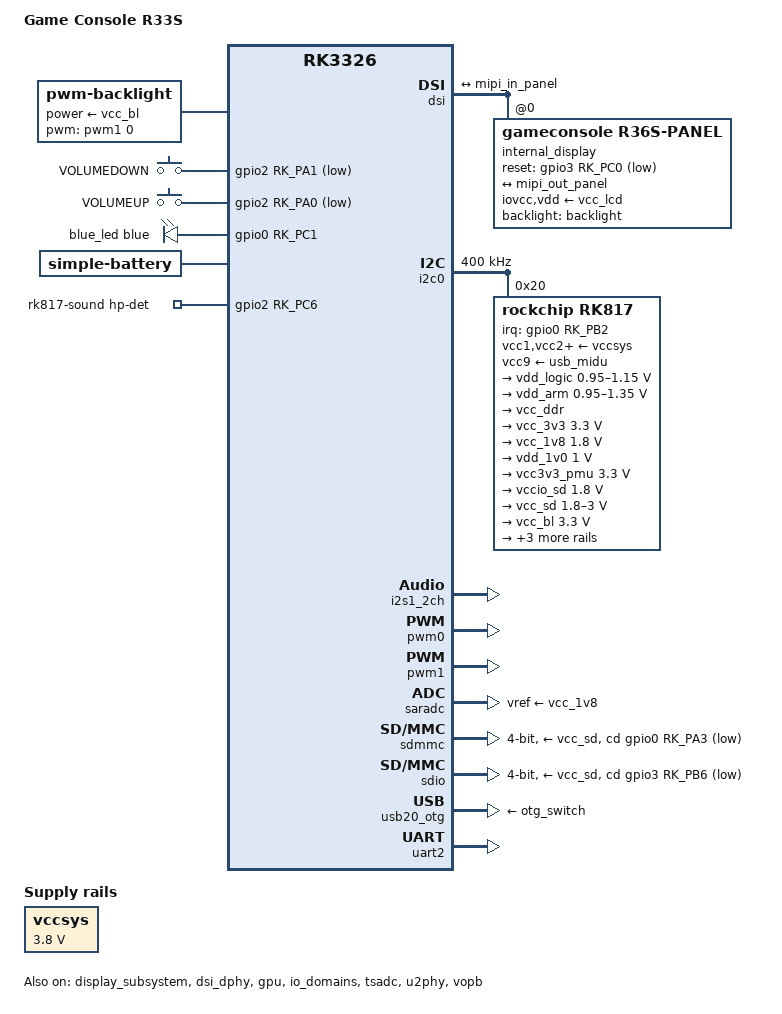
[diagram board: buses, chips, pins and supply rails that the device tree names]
// SPDX-License-Identifier: (GPL-2.0+ OR MIT)
/*
 * # Copyright (C) 2022-24 JELOS (https://github.com/JustEnoughLinuxOS)
 */

/dts-v1/;
#include <dt-bindings/gpio/gpio.h>
#include <dt-bindings/input/input.h>
#include <dt-bindings/leds/common.h>
#include <dt-bindings/pinctrl/rockchip.h>
#include "rk3326.dtsi"

/ {
	model = "Game Console R33S";
	compatible = "gameconsolec,r33s", "rockchip,rk3326";

       aliases {
               mmc0 = &sdio;
               mmc1 = &sdmmc;
       };

	chosen {
		stdout-path = "serial2:1500000n8";
	};

	backlight: backlight {
		compatible = "pwm-backlight";
		power-supply = <&vcc_bl>;
		pwms = <&pwm1 0 25000 0>;
		brightness-levels = <
		  0   1   2   3   4   5   6   7
		  8   9  10  11  12  13  14  15
		 16  17  18  19  20  21  22  23
		 24  25  26  27  28  29  30  31
		 32  33  34  35  36  37  38  39
		 40  41  42  43  44  45  46  47
		 48  49  50  51  52  53  54  55
		 56  57  58  59  60  61  62  63
		 64  65  66  67  68  69  70  71
		 72  73  74  75  76  77  78  79
		 80  81  82  83  84  85  86  87
		 88  89  90  91  92  93  94  95
		 96  97  98  99 100 101 102 103
		104 105 106 107 108 109 110 111
		112 113 114 115 116 117 118 119
		120 121 122 123 124 125 126 127
		128 129 130 131 132 133 134 135
		136 137 138 139 140 141 142 143
		144 145 146 147 148 149 150 151
		152 153 154 155 156 157 158 159
		160 161 162 163 164 165 166 167
		168 169 170 171 172 173 174 175
		176 177 178 179 180 181 182 183
		184 185 186 187 188 189 190 191
		192 193 194 195 196 197 198 199
		200 201 202 203 204 205 206 207
		208 209 210 211 212 213 214 215
		216 217 218 219 220 221 222 223
		224 225 226 227 228 229 230 231
		232 233 234 235 236 237 238 239
		240 241 242 243 244 245 246 247
		248 249 250 251 252 253 254 255>;
		default-brightness-level = <128>;
	};

	gpio-keys-vol {
		compatible = "gpio-keys";
		autorepeat;
		pinctrl-0 = <&btn_pins_vol>;
		pinctrl-names = "default";

		button-vol-down {
			gpios = <&gpio2 RK_PA1 GPIO_ACTIVE_LOW>;
			label = "VOLUMEDOWN";
			linux,code = <KEY_VOLUMEDOWN>;
		};

		button-volume-up {
			gpios = <&gpio2 RK_PA0 GPIO_ACTIVE_LOW>;
			label = "VOLUMEUP";
			linux,code = <KEY_VOLUMEUP>;
		};
	};

	leds: gpio-leds {
		compatible = "gpio-leds";

		blue_led: led-0 {
			color = <LED_COLOR_ID_BLUE>;
			gpios = <&gpio0 RK_PC1 GPIO_ACTIVE_HIGH>;
			linux,default-trigger = "heartbeat";
		};
	};

	battery: battery {
		compatible = "simple-battery";
		charge-full-design-microamp-hours = <3380000>;
		charge-term-current-microamp = <320000>;
		constant-charge-current-max-microamp = <2000000>;
		constant-charge-voltage-max-microvolt = <4200000>;
		factory-internal-resistance-micro-ohms = <180000>;
		voltage-max-design-microvolt = <4100000>;
		voltage-min-design-microvolt = <3500000>;

		ocv-capacity-celsius = <20>;
		/* OCV curve from BSP */
		ocv-capacity-table-0 =  <4000000 100>, <3995000 95>, <3990000 90>, <3950000 85>,
					<3910000 80>, <3870000 75>, <3830000 70>, <3790000 65>,
					<3750000 60>, <3710000 55>, <3670000 50>, <3630000 45>,
					<3580000 40>, <3530000 35>, <3480000 30>, <3430000 25>,
					<3380000 20>, <3330000 15>, <3280000 10>, <3220000 5>,
					<3165000 0>;
	};

	rk817-sound {
		compatible = "simple-audio-card";
		simple-audio-card,name = "rk817_int";
		simple-audio-card,format = "i2s";
		simple-audio-card,hp-det-gpios = <&gpio2 RK_PC6 GPIO_ACTIVE_HIGH>;
		simple-audio-card,mclk-fs = <256>;
		simple-audio-card,widgets =
			"Microphone", "Mic Jack",
			"Headphone", "Headphones",
			"Speaker", "Speaker";
		simple-audio-card,routing =
			"MICL", "Mic Jack",
			"Headphones", "HPOL",
			"Headphones", "HPOR",
			"Speaker", "SPKO";

		simple-audio-card,codec {
			sound-dai = <&rk817>;
		};

		simple-audio-card,cpu {
			sound-dai = <&i2s1_2ch>;
		};
	};

	vccsys: vccsys {
		compatible = "regulator-fixed";
		regulator-name = "vcc3v8_sys";
		regulator-always-on;
		regulator-min-microvolt = <3800000>;
		regulator-max-microvolt = <3800000>;
	};
};

&cpu0 {
	cpu-supply = <&vdd_arm>;
};

&cpu1 {
	cpu-supply = <&vdd_arm>;
};

&cpu2 {
	cpu-supply = <&vdd_arm>;
};

&cpu3 {
	cpu-supply = <&vdd_arm>;
};

&cru {
	assigned-clocks = <&cru PLL_NPLL>,
		<&cru ACLK_BUS_PRE>, <&cru ACLK_PERI_PRE>,
		<&cru HCLK_BUS_PRE>, <&cru HCLK_PERI_PRE>,
		<&cru PCLK_BUS_PRE>, <&cru SCLK_GPU>;

	assigned-clock-rates = <1188000000>,
		<200000000>, <200000000>,
		<150000000>, <150000000>,
		<100000000>, <200000000>;
};

&display_subsystem {
	status = "okay";
};

&dsi {
	status = "okay";

	ports {
		mipi_out: port@1 {
			reg = <1>;

			mipi_out_panel: endpoint {
				remote-endpoint = <&mipi_in_panel>;
			};
		};
	};

	internal_display: panel@0 {
		reg = <0>;
		backlight = <&backlight>;
		reset-gpios = <&gpio3 RK_PC0 GPIO_ACTIVE_LOW>;

		port {
			mipi_in_panel: endpoint {
				remote-endpoint = <&mipi_out_panel>;
			};
		};
	};
};

&dsi_dphy {
	status = "okay";
};

&gpu {
	mali-supply = <&vdd_logic>;
	status = "okay";
};

&internal_display {
	compatible = "gameconsole,r36s-panel", "sitronix,st7703";
	iovcc-supply = <&vcc_lcd>;
	vdd-supply = <&vcc_lcd>;
};

&i2c0 {
	clock-frequency = <400000>;
	i2c-scl-falling-time-ns = <16>;
	i2c-scl-rising-time-ns = <280>;
	status = "okay";

	rk817: pmic@20 {
		compatible = "rockchip,rk817";
		reg = <0x20>;
		interrupt-parent = <&gpio0>;
		interrupts = <RK_PB2 IRQ_TYPE_LEVEL_LOW>;
		clock-output-names = "rk808-clkout1", "xin32k";
		clock-names = "mclk";
		clocks = <&cru SCLK_I2S1_OUT>;
		pinctrl-names = "default";
		pinctrl-0 = <&pmic_int>, <&i2s1_2ch_mclk>;
		rockchip,system-power-controller;
		wakeup-source;
		#clock-cells = <1>;
		#sound-dai-cells = <0>;

		vcc1-supply = <&vccsys>;
		vcc2-supply = <&vccsys>;
		vcc3-supply = <&vccsys>;
		vcc4-supply = <&vccsys>;
		vcc5-supply = <&vccsys>;
		vcc6-supply = <&vccsys>;
		vcc7-supply = <&vccsys>;
		vcc8-supply = <&vccsys>;
		vcc9-supply = <&usb_midu>;

		regulators {
			vdd_logic: DCDC_REG1 {
				regulator-name = "vdd_logic";
				regulator-min-microvolt = <950000>;
				regulator-max-microvolt = <1150000>;
				regulator-ramp-delay = <6001>;
				regulator-always-on;
				regulator-boot-on;

				regulator-state-mem {
					regulator-on-in-suspend;
					regulator-suspend-microvolt = <950000>;
				};
			};

			vdd_arm: DCDC_REG2 {
				regulator-name = "vdd_arm";
				regulator-min-microvolt = <950000>;
				regulator-max-microvolt = <1350000>;
				regulator-ramp-delay = <6001>;
				regulator-always-on;
				regulator-boot-on;

				regulator-state-mem {
					regulator-off-in-suspend;
					regulator-suspend-microvolt = <950000>;
				};
			};

			vcc_ddr: DCDC_REG3 {
				regulator-name = "vcc_ddr";
				regulator-always-on;
				regulator-boot-on;

				regulator-state-mem {
					regulator-on-in-suspend;
				};
			};

			vcc_3v3: DCDC_REG4 {
				regulator-name = "vcc_3v3";
				regulator-min-microvolt = <3300000>;
				regulator-max-microvolt = <3300000>;
				regulator-always-on;
				regulator-boot-on;

				regulator-state-mem {
					regulator-off-in-suspend;
					regulator-suspend-microvolt = <3300000>;
				};
			};

			vcc_1v8: LDO_REG2 {
				regulator-name = "vcc_1v8";
				regulator-min-microvolt = <1800000>;
				regulator-max-microvolt = <1800000>;
				regulator-always-on;
				regulator-boot-on;

				regulator-state-mem {
					regulator-on-in-suspend;
					regulator-suspend-microvolt = <1800000>;
				};
			};

			vdd_1v0: LDO_REG3 {
				regulator-name = "vdd_1v0";
				regulator-min-microvolt = <1000000>;
				regulator-max-microvolt = <1000000>;
				regulator-always-on;
				regulator-boot-on;

				regulator-state-mem {
					regulator-on-in-suspend;
					regulator-suspend-microvolt = <1000000>;
				};
			};

			vcc3v3_pmu: LDO_REG4 {
				regulator-name = "vcc3v3_pmu";
				regulator-min-microvolt = <3300000>;
				regulator-max-microvolt = <3300000>;
				regulator-always-on;
				regulator-boot-on;

				regulator-state-mem {
					regulator-on-in-suspend;
					regulator-suspend-microvolt = <3300000>;
				};
			};

			vccio_sd: LDO_REG5 {
				regulator-name = "vccio_sd";
				regulator-min-microvolt = <1800000>;
				regulator-max-microvolt = <1800000>;
				regulator-always-on;
				regulator-boot-on;

				regulator-state-mem {
					regulator-on-in-suspend;
					regulator-suspend-microvolt = <1800000>;
				};
			};

			vcc_sd: LDO_REG6 {
				regulator-name = "vcc_sd";
				regulator-min-microvolt = <1800000>;
				regulator-max-microvolt = <3000000>;
				regulator-boot-on;

				regulator-state-mem {
					regulator-on-in-suspend;
					regulator-suspend-microvolt = <3000000>;
				};
			};

			vcc_bl: LDO_REG7 {
				regulator-name = "vcc_bl";
				regulator-min-microvolt = <3300000>;
				regulator-max-microvolt = <3300000>;

				regulator-state-mem {
					regulator-off-in-suspend;
					regulator-suspend-microvolt = <3300000>;
				};
			};

			vcc_lcd: LDO_REG8 {
				regulator-name = "vcc_lcd";
				regulator-min-microvolt = <2800000>;
				regulator-max-microvolt = <2800000>;

				regulator-state-mem {
					regulator-off-in-suspend;
					regulator-suspend-microvolt = <2800000>;
				};
			};

			LDO_REG9 {
				/* unused */
			};

			usb_midu: BOOST {
				regulator-name = "usb_midu";
				regulator-min-microvolt = <5000000>;
				regulator-max-microvolt = <5400000>;
				regulator-always-on;
				regulator-boot-on;
			};

			otg_switch: OTG_SWITCH {
				regulator-name = "otg_switch";
				regulator-boot-on;
			};
		};

		rk817_charger: charger {
			rockchip,resistor-sense-micro-ohms = <10000>;
			rockchip,sleep-enter-current-microamp = <300000>;
			rockchip,sleep-filter-current-microamp = <100000>;
		};

		rk817_codec: codec {
			rockchip,mic-in-differential;
		};
	};
};

&i2s1_2ch {
	status = "okay";
};

&io_domains {
	vccio1-supply = <&vccio_sd>;
	vccio2-supply = <&vccio_sd>;
	vccio3-supply = <&vcc_3v3>;
	vccio4-supply = <&vcc_3v3>;
	vccio5-supply = <&vcc_3v3>;
	vccio6-supply = <&vcc_3v3>;
	status = "okay";
};

&pmu_io_domains {
	pmuio1-supply = <&vcc3v3_pmu>;
	pmuio2-supply = <&vcc3v3_pmu>;
	status = "okay";
};

&pwm0 {
	status = "okay";
};

&pwm1 {
	status = "okay";
};

&saradc {
	vref-supply = <&vcc_1v8>;
	status = "okay";
};

&sdmmc {
        bus-width = <4>;
	cap-sd-highspeed;
	card-detect-delay = <800>;
	cd-gpios = <&gpio0 RK_PA3 GPIO_ACTIVE_LOW>; /*[> CD GPIO <]*/
        disable-wp;
	sd-uhs-sdr12;
	sd-uhs-sdr25;
	sd-uhs-sdr50;
	sd-uhs-sdr104;
	vmmc-supply = <&vcc_sd>;
	vqmmc-supply = <&vccio_sd>;
	status = "okay";
};

&sdio {
        bus-width = <4>;
	cap-sd-highspeed;
	card-detect-delay = <800>;
	cd-gpios = <&gpio3 RK_PB6 GPIO_ACTIVE_LOW>; /*[> CD GPIO <]*/
        disable-wp;
	sd-uhs-sdr12;
	sd-uhs-sdr25;
	sd-uhs-sdr50;
	sd-uhs-sdr104;
	vmmc-supply = <&vcc_sd>;
	vqmmc-supply = <&vccio_sd>;
	status = "okay";
};

&tsadc {
	status = "okay";
};

&u2phy {
	status = "okay";

	u2phy_host: host-port {
		status = "okay";
	};

	u2phy_otg: otg-port {
		status = "disabled";
	};
};

&usb20_otg {
	vbus-supply = <&otg_switch>;
	status = "okay";
};

&uart2 {
	pinctrl-names = "default";
	pinctrl-0 = <&uart2m1_xfer>;
	status = "okay";
};

&vopb {
	status = "okay";
};

&vopb_mmu {
	status = "okay";
};

&rk817_charger {
	monitored-battery = <&battery>;
};

&pinctrl {
        btns {
                btn_pins_vol: btn-pins-vol {
                                rockchip,pins = <2 RK_PA0 RK_FUNC_GPIO &pcfg_pull_up>,
                                                <2 RK_PA1 RK_FUNC_GPIO &pcfg_pull_up>;
                                };
                };

	headphone {
		hp_det: hp-det {
			rockchip,pins = <2 RK_PC6 RK_FUNC_GPIO &pcfg_pull_down>;
		};
	};
		
	pmic {
		dc_det: dc-det {
			rockchip,pins = <0 RK_PB3 RK_FUNC_GPIO &pcfg_pull_none>;
		};

		pmic_int: pmic-int {
			rockchip,pins = <0 RK_PB2 RK_FUNC_GPIO &pcfg_pull_up>;
		};

		soc_slppin_gpio: soc_slppin_gpio {
			rockchip,pins = <0 RK_PA4 RK_FUNC_GPIO &pcfg_output_low>;
		};

		soc_slppin_rst: soc_slppin_rst {
			rockchip,pins = <0 RK_PA4 2 &pcfg_pull_none>;
		};

		soc_slppin_slp: soc_slppin_slp {
			rockchip,pins = <0 RK_PA4 1 &pcfg_pull_none>;
		};
	};
};
